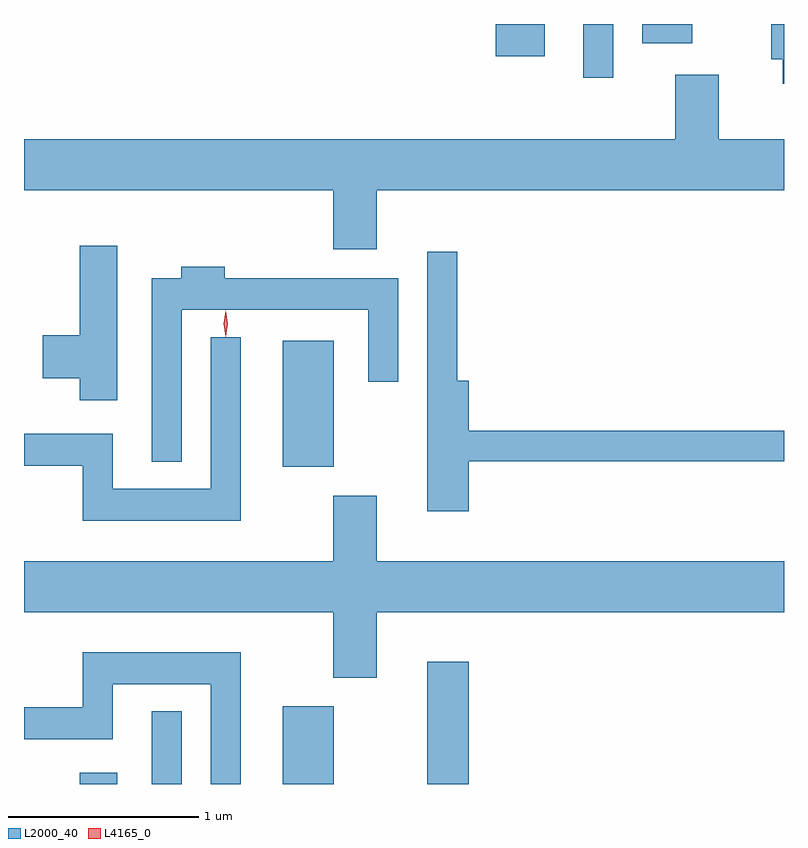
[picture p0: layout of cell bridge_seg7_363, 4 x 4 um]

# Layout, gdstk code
import gdstk
lib = gdstk.Library(unit=1e-6, precision=1e-09)
def R(c, l, rs):  # rectangles x0, y0, x1, y1
    for r in rs: c.add(gdstk.rectangle(r[:2], r[2:], *l))
def P(c, l, *ps):  # polygons
    for p in ps: c.add(gdstk.Polygon(p, *l))
L2000_40 = (2000, 40)
L4165_0 = (4165, 0)

bridge_seg7_363 = lib.new_cell('bridge_seg7_363')
R(bridge_seg7_363, L2000_40, [(1138.446,1740.051,1138.644,1740.109), (1138.826,1740.051,1138.984,1740.433), (1139.516,1740.051,1139.784,1740.459), (1140.276,1740.051,1140.494,1740.694), (1139.516,1741.721,1139.784,1742.384), (1141.096,1743.768,1141.254,1744.051), (1140.636,1743.881,1140.894,1744.051), (1141.406,1743.951,1141.669,1744.051)])
P(bridge_seg7_363, L2000_40, [(1142.153,1744.051),(1142.086,1744.051),(1142.086,1743.866),(1142.146,1743.866),(1142.146,1743.736),(1142.153,1743.736)],
  [(1140.009,1743.176),(1142.153,1743.176),(1142.153,1743.444),(1141.809,1743.444),(1141.809,1743.784),(1141.581,1743.784),(1141.581,1743.444),(1138.153,1743.444),(1138.153,1743.176),(1139.781,1743.176),(1139.781,1742.866),(1140.009,1742.866)],
  [(1138.644,1742.884),(1138.446,1742.884),(1138.446,1742.414),(1138.251,1742.414),(1138.251,1742.186),(1138.446,1742.186),(1138.446,1742.071),(1138.644,1742.071)],
  [(1140.494,1741.751),(1142.153,1741.751),(1142.153,1741.909),(1140.494,1741.909),(1140.494,1742.174),(1140.434,1742.174),(1140.434,1742.853),(1140.276,1742.853),(1140.276,1741.486),(1140.494,1741.486)],
  [(1138.984,1742.546),(1139.966,1742.546),(1139.966,1742.168),(1140.124,1742.168),(1140.124,1742.714),(1139.209,1742.714),(1139.209,1742.774),(1138.981,1742.774),(1138.981,1742.714),(1138.826,1742.714),(1138.826,1741.748),(1138.984,1741.748)],
  [(1139.294,1742.403),(1139.136,1742.403),(1139.136,1741.604),(1138.619,1741.604),(1138.619,1741.894),(1138.153,1741.894),(1138.153,1741.726),(1138.461,1741.726),(1138.461,1741.436),(1139.294,1741.436)],
  [(1140.009,1740.956),(1142.153,1740.956),(1142.153,1741.224),(1140.009,1741.224),(1140.009,1741.569),(1139.781,1741.569),(1139.781,1741.224),(1138.153,1741.224),(1138.153,1740.956),(1139.781,1740.956),(1139.781,1740.611),(1140.009,1740.611)],
  [(1139.294,1740.744),(1138.461,1740.744),(1138.461,1740.454),(1138.153,1740.454),(1138.153,1740.286),(1138.619,1740.286),(1138.619,1740.576),(1139.136,1740.576),(1139.136,1740.051),(1139.294,1740.051)])
P(bridge_seg7_363, L4165_0, [(1139.214,1742.404),(1139.205,1742.473),(1139.214,1742.543),(1139.215,1742.543),(1139.215,1742.543),(1139.225,1742.473),(1139.215,1742.404),(1139.215,1742.404)],
  [(1139.214,1742.407),(1139.205,1742.474),(1139.214,1742.54),(1139.215,1742.541),(1139.215,1742.54),(1139.225,1742.474),(1139.215,1742.407),(1139.215,1742.407)])

lib.write_gds('bridge_seg7_363.gds')
